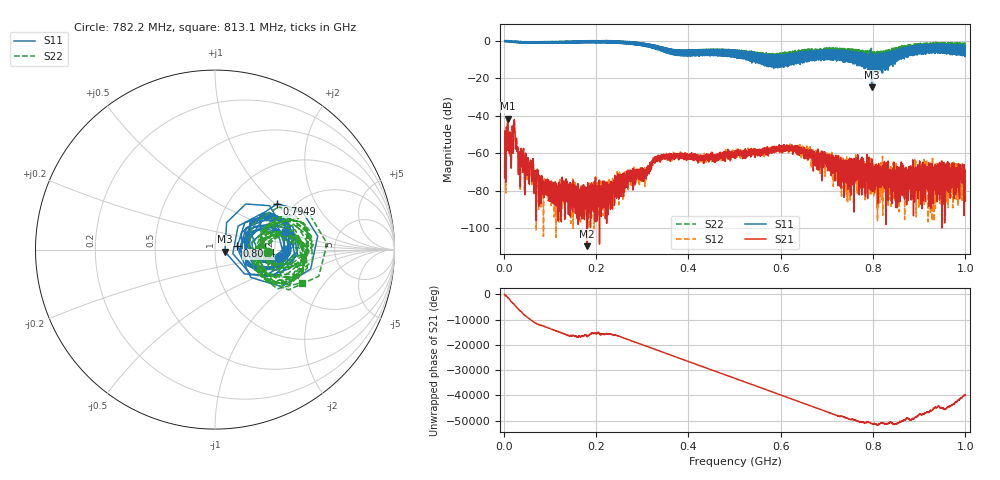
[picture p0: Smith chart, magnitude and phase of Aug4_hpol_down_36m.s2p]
!Keysight Technologies N9923A: A.12.45
!Date: Tuesday, 05 August 2025 18:50:56
!Timezone: (UTC+08:00) Kuala Lumpur, Singapore
!Model: N9923A
!Serial: MY61181427
!GPS Latitude:
!GPS Longitude:
!GPS TimeStamp: 0001-01-01 00:00:00Z
!GPS Seconds Since Last Read: 0
!CHECKSUM:1973578777
!Correction: S11(ON U)S21(ON U)S12(ON U)S22(ON U)
!S2P File: Measurements:S11,S21,S12,S22:
# Hz S DB R 50
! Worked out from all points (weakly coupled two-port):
!   4001 points, 2 MHz to 1 GHz, reference 50 ohm
!   highest |S21| = -41.58 dB at 8.487 MHz (marker M1); lowest = -109.7 dB at 179.9 MHz (marker M2)
!   lowest |S11| = -24.9 dB at 796.9 MHz (marker M3), VSWR 1.12, Z = 55.9 - j1.34 ohm
!   |S11| at or under -10 dB: 575.8294 MHz to 576.6165 MHz (787.1 kHz wide, 0.137 % of centre); 582.5661 MHz to 583.3587 MHz (792.6 kHz wide, 0.136 % of centre); 596.0504 MHz to 596.8876 MHz (837.2 kHz wide, 0.14 % of centre)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
!   |S22| runs from -14.7 to 0.1 dB; largest |S21 - S12| = 0.001
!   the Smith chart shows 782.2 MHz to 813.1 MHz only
!   S11 on the Smith chart (normalised r, x): 782.2 MHz: 2.09, -0.20; 794.9 MHz: 1.65, +1.04; 800.4 MHz: 1.28, +0.05; 813.1 MHz: 2.20, +0.50
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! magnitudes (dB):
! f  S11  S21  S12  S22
! 2 MHz  -0.1  -73.2  -71.7  -0.1
! 8.487 MHz  0.0  -41.6  -41.6  -0.1
! 22.96 MHz  -0.6  -42.1  -42.5  -0.5
! 36.43 MHz  -0.6  -66.7  -67.4  -0.6
! 60.88 MHz  -1.3  -73.4  -77.6  -1.2
! 80.09 MHz  -0.6  -83.3  -83.2  -0.6
! 168.4 MHz  -1.2  -81.2  -82.4  -1.0
! 179.9 MHz  -0.8  -109.7  -79.9  -0.5
! 305.1 MHz  -1.3  -71.5  -67.8  -1.5
! 334.8 MHz  -3.9  -61.2  -61.9  -4.6
! 501 MHz  -5.8  -60.4  -61.2  -6.6
! 618.8 MHz  -9.6  -56.4  -56.9  -10.6
! 667.4 MHz  -9.0  -59.9  -62.8  -8.6
! 747.3 MHz  -5.6  -72.6  -70.1  -5.0
! 782.2 MHz  -8.9  -65.8  -69.5  -10.6
! 794.9 MHz  -7.3  -65.6  -69.6  -7.4
! 796.9 MHz  -24.9  -66.5  -67.9  -7.4
! 800.4 MHz  -18.0  -67.3  -71.4  -9.0
! 813.1 MHz  -7.9  -76.7  -79.7  -5.7
! 833.8 MHz  -9.9  -72.9  -74.5  -5.5
! 993.3 MHz  -2.5  -70.3  -65.2  -2.4
! 1 GHz  -2.6  -83.6  -75.2  -2.7
